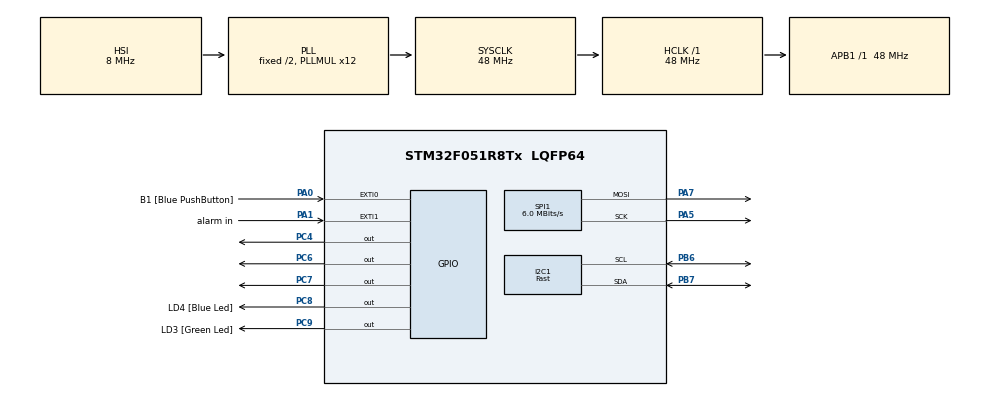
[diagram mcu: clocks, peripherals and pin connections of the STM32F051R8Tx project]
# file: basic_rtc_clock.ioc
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FREERTOS.Tasks01=defaultTask,0,128,StartDefaultTask,Default,NULL,Dynamic,NULL,NULL;write_SR,0,128,StartTask03,Default,NULL,Dynamic,NULL,NULL;readRTC,1,128,StartTask04,Default,NULL,Dynamic,NULL,NULL
I2C1.I2C_Speed_Mode=I2C_Fast
I2C1.Timing=0x0000020B
Mcu.Family=STM32F0
Mcu.Name=STM32F051R8Tx
Mcu.Package=LQFP64
NVIC.EXTI0_1_IRQn=true\:3\:0\:false\:false\:true\:true\:true
NVIC.TIM2_IRQn=true\:0\:0\:false\:false\:true\:false\:false
NVIC.TimeBase=TIM2_IRQn
NVIC.TimeBaseIP=TIM2
PA0.GPIO_Label=B1 [Blue PushButton]
PA0.GPIO_ModeDefaultEXTI=GPIO_MODE_EVT_RISING
PA0.Signal=GPXTI0
PA1.GPIO_Label=alarm in
PA1.GPIO_PuPd=GPIO_PULLUP
PA1.Signal=GPXTI1
PA13.GPIO_Label=SWDIO
PA13.Mode=Serial_Wire
PA13.Signal=SYS_SWDIO
PA14.GPIO_Label=SWCLK
PA14.Mode=Serial_Wire
PA14.Signal=SYS_SWCLK
PA5.Mode=TX_Only_Simplex_Unidirect_Master
PA5.Signal=SPI1_SCK
PA7.Mode=TX_Only_Simplex_Unidirect_Master
PA7.Signal=SPI1_MOSI
PB6.Mode=I2C
PB6.Signal=I2C1_SCL
PB7.Mode=I2C
PB7.Signal=I2C1_SDA
PC4.Signal=GPIO_Output
PC6.Signal=GPIO_Output
PC7.Signal=GPIO_Output
PC8.GPIO_Label=LD4 [Blue Led]
PC8.Signal=GPIO_Output
PC9.GPIO_Label=LD3 [Green Led]
PC9.Signal=GPIO_Output
ProjectManager.HeapSize=0x200
ProjectManager.StackSize=0x400
ProjectManager.TargetToolchain=SW4STM32
RCC.AHBFreq_Value=48000000
RCC.APB1Freq_Value=48000000
RCC.APB1TimFreq_Value=48000000
RCC.HCLKFreq_Value=48000000
RCC.PLLMUL=RCC_PLL_MUL12
RCC.SYSCLKFreq_VALUE=48000000
RCC.SYSCLKSource=RCC_SYSCLKSOURCE_PLLCLK
SPI1.BaudRatePrescaler=SPI_BAUDRATEPRESCALER_8
SPI1.CalculateBaudRate=6.0 MBits/s
SPI1.DataSize=SPI_DATASIZE_8BIT
SPI1.Direction=SPI_DIRECTION_2LINES
SPI1.Mode=SPI_MODE_MASTER
SPI1.VirtualType=VM_MASTER
VP_FREERTOS_VS_ENABLE.Mode=Enabled
VP_SYS_VS_tim2.Mode=TIM2
board=STM32F0DISCOVERY

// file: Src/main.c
/* USER CODE BEGIN Header */
/**
  ******************************************************************************
  * @file           : main.c
  * @brief          : Main program body
  ******************************************************************************
  ** This notice applies to any and all portions of this file
  * that are not between comment pairs USER CODE BEGIN and
  * USER CODE END. Other portions of this file, whether
  * inserted by the user or by software development tools
  * are owned by their respective copyright owners.
  *
  * COPYRIGHT(c) 2019 STMicroelectronics
  *
  * Redistribution and use in source and binary forms, with or without modification,
  * are permitted provided that the following conditions are met:
  *   1. Redistributions of source code must retain the above copyright notice,
  *      this list of conditions and the following disclaimer.
  *   2. Redistributions in binary form must reproduce the above copyright notice,
  *      this list of conditions and the following disclaimer in the documentation
  *      and/or other materials provided with the distribution.
  *   3. Neither the name of STMicroelectronics nor the names of its contributors
  *      may be used to endorse or promote products derived from this software
  *      without specific prior written permission.
  *
  * THIS SOFTWARE IS PROVIDED BY THE COPYRIGHT HOLDERS AND CONTRIBUTORS "AS IS"
  * AND ANY EXPRESS OR IMPLIED WARRANTIES, INCLUDING, BUT NOT LIMITED TO, THE
  * IMPLIED WARRANTIES OF MERCHANTABILITY AND FITNESS FOR A PARTICULAR PURPOSE ARE
  * DISCLAIMED. IN NO EVENT SHALL THE COPYRIGHT HOLDER OR CONTRIBUTORS BE LIABLE
  * FOR ANY DIRECT, INDIRECT, INCIDENTAL, SPECIAL, EXEMPLARY, OR CONSEQUENTIAL
  * DAMAGES (INCLUDING, BUT NOT LIMITED TO, PROCUREMENT OF SUBSTITUTE GOODS OR
  * SERVICES; LOSS OF USE, DATA, OR PROFITS; OR BUSINESS INTERRUPTION) HOWEVER
  * CAUSED AND ON ANY THEORY OF LIABILITY, WHETHER IN CONTRACT, STRICT LIABILITY,
  * OR TORT (INCLUDING NEGLIGENCE OR OTHERWISE) ARISING IN ANY WAY OUT OF THE USE
  * OF THIS SOFTWARE, EVEN IF ADVISED OF THE POSSIBILITY OF SUCH DAMAGE.
  *
  ******************************************************************************
  */
/* USER CODE END Header */

#include "main.h"
#include "cmsis_os.h"

/* USER CODE BEGIN PD */
#define SECONDS_REG 0x0
#define MINS_REG	0x1
#define HOURS_REG	0x2
#define RTC_ADDRESS 0xD0
/* USER CODE END PD */

I2C_HandleTypeDef hi2c1;

SPI_HandleTypeDef hspi1;

osThreadId defaultTaskHandle;
osThreadId write_SRHandle;
osThreadId readRTCHandle;
/* USER CODE BEGIN PV */

uint8_t active_display;  // active display counter
uint8_t TIME_READ=0;	 // see if clock has been read yet

typedef struct {
	// private //
	uint8_t address;
	uint8_t twentyfour_hour;
	// public //
	// individual digits of current time for display //
	uint8_t time_hour_large;
	uint8_t time_hour_small;
	uint8_t	time_min_large;
	uint8_t time_min_small;
	uint8_t time_sec_large;
	uint8_t time_sec_small;
} clockinfo;

clockinfo clock;

/* USER CODE END PV */

void SystemClock_Config(void);
static void MX_GPIO_Init(void);
static void MX_I2C1_Init(void);
static void MX_SPI1_Init(void);
void StartDefaultTask(void const * argument);
void StartTask03(void const * argument);
void StartTask04(void const * argument);

/* USER CODE BEGIN 0 */
uint8_t RTC_Config(clockinfo *clock, I2C_HandleTypeDef *Handle);
//uint8_t Read_Time(clockinfo *clock, I2C_HandleTypeDef *Handle);
//uint8_t Read_Hours(clockinfo *clock, I2C_HandleTypeDef *Handle);
//uint8_t Write_to_Reg(uint8_t device, uint8_t reg, uint8_t data, I2C_HandleTypeDef *Handle);
//uint8_t Read_from_Register(uint8_t device, uint8_t reg, uint8_t *buffer, uint8_t len, I2C_HandleTypeDef *Handle);

/* USER CODE END 0 */

int main(void)
{
  /* USER CODE BEGIN 1 */
	// set the clock address
  clock.address = (uint8_t) RTC_ADDRESS;
  /* USER CODE END 1 */

  /* MCU Configuration--------------------------------------------------------*/

  /* Reset of all peripherals, Initializes the Flash interface and the Systick. */
  HAL_Init();

  /* Configure the system clock */
  SystemClock_Config();

  /* Initialize all configured peripherals */
  MX_GPIO_Init();
  MX_I2C1_Init();
  MX_SPI1_Init();
  /* USER CODE BEGIN 2 */

  RTC_Config(&clock, &hi2c1);
  /* USER CODE END 2 */

  /* Create the thread(s) */
  /* definition and creation of defaultTask */
  osThreadDef(defaultTask, StartDefaultTask, osPriorityLow, 0, 128);
  defaultTaskHandle = osThreadCreate(osThread(defaultTask), NULL);

  /* definition and creation of write_SR */
  osThreadDef(display_next_digit, StartTask03, osPriorityAboveNormal, 0, 128);
  write_SRHandle = osThreadCreate(osThread(display_next_digit), NULL);

  /* definition and creation of readRTC */
  osThreadDef(readRTC, StartTask04, osPriorityNormal, 0, 128);
  readRTCHandle = osThreadCreate(osThread(readRTC), NULL);

  /* Start scheduler */
  osKernelStart();

  /* We should never get here as control is now taken by the scheduler */

  /* Infinite loop */
  while (1)
  {

  }
}

void SystemClock_Config(void)
{
  RCC_OscInitTypeDef RCC_OscInitStruct = {0};
  RCC_ClkInitTypeDef RCC_ClkInitStruct = {0};
  RCC_PeriphCLKInitTypeDef PeriphClkInit = {0};

  /**Initializes the CPU, AHB and APB busses clocks
  */
  RCC_OscInitStruct.OscillatorType = RCC_OSCILLATORTYPE_HSI;
  RCC_OscInitStruct.HSIState = RCC_HSI_ON;
  RCC_OscInitStruct.HSICalibrationValue = RCC_HSICALIBRATION_DEFAULT;
  RCC_OscInitStruct.PLL.PLLState = RCC_PLL_ON;
  RCC_OscInitStruct.PLL.PLLSource = RCC_PLLSOURCE_HSI;
  RCC_OscInitStruct.PLL.PLLMUL = RCC_PLL_MUL12;
  RCC_OscInitStruct.PLL.PREDIV = RCC_PREDIV_DIV1;
  if (HAL_RCC_OscConfig(&RCC_OscInitStruct) != HAL_OK)
  {
    Error_Handler();
  }
  /**Initializes the CPU, AHB and APB busses clocks
  */
  RCC_ClkInitStruct.ClockType = RCC_CLOCKTYPE_HCLK|RCC_CLOCKTYPE_SYSCLK
                              |RCC_CLOCKTYPE_PCLK1;
  RCC_ClkInitStruct.SYSCLKSource = RCC_SYSCLKSOURCE_PLLCLK;
  RCC_ClkInitStruct.AHBCLKDivider = RCC_SYSCLK_DIV1;
  RCC_ClkInitStruct.APB1CLKDivider = RCC_HCLK_DIV1;

  if (HAL_RCC_ClockConfig(&RCC_ClkInitStruct, FLASH_LATENCY_1) != HAL_OK)
  {
    Error_Handler();
  }
  PeriphClkInit.PeriphClockSelection = RCC_PERIPHCLK_I2C1;
  PeriphClkInit.I2c1ClockSelection = RCC_I2C1CLKSOURCE_HSI;
  if (HAL_RCCEx_PeriphCLKConfig(&PeriphClkInit) != HAL_OK)
  {
    Error_Handler();
  }
}

static void MX_I2C1_Init(void)
{

  hi2c1.Instance = I2C1;
  hi2c1.Init.Timing = 0x0000020B;
  hi2c1.Init.OwnAddress1 = 0;
  hi2c1.Init.AddressingMode = I2C_ADDRESSINGMODE_7BIT;
  hi2c1.Init.DualAddressMode = I2C_DUALADDRESS_DISABLE;
  hi2c1.Init.OwnAddress2 = 0;
  hi2c1.Init.OwnAddress2Masks = I2C_OA2_NOMASK;
  hi2c1.Init.GeneralCallMode = I2C_GENERALCALL_DISABLE;
  hi2c1.Init.NoStretchMode = I2C_NOSTRETCH_DISABLE;
  if (HAL_I2C_Init(&hi2c1) != HAL_OK)
  {
    Error_Handler();
  }
  /**Configure Analogue filter
  */
  if (HAL_I2CEx_ConfigAnalogFilter(&hi2c1, I2C_ANALOGFILTER_ENABLE) != HAL_OK)
  {
    Error_Handler();
  }
  /**Configure Digital filter
  */
  if (HAL_I2CEx_ConfigDigitalFilter(&hi2c1, 0) != HAL_OK)
  {
    Error_Handler();
  }

}

static void MX_SPI1_Init(void)
{

  /* SPI1 parameter configuration*/
  hspi1.Instance = SPI1;
  hspi1.Init.Mode = SPI_MODE_MASTER;
  hspi1.Init.Direction = SPI_DIRECTION_2LINES;
  hspi1.Init.DataSize = SPI_DATASIZE_8BIT;
  hspi1.Init.CLKPolarity = SPI_POLARITY_HIGH;
  hspi1.Init.CLKPhase = SPI_PHASE_1EDGE;
  hspi1.Init.NSS = SPI_NSS_SOFT;
  hspi1.Init.BaudRatePrescaler = SPI_BAUDRATEPRESCALER_64;
  hspi1.Init.FirstBit = SPI_FIRSTBIT_LSB;
  hspi1.Init.TIMode = SPI_TIMODE_DISABLE;
  hspi1.Init.CRCCalculation = SPI_CRCCALCULATION_DISABLE;
  hspi1.Init.CRCPolynomial = 7;
  hspi1.Init.CRCLength = SPI_CRC_LENGTH_DATASIZE;
  hspi1.Init.NSSPMode = SPI_NSS_PULSE_ENABLE;
  if (HAL_SPI_Init(&hspi1) != HAL_OK)
  {
    Error_Handler();
  }

}

static void MX_GPIO_Init(void)
{
  GPIO_InitTypeDef GPIO_InitStruct = {0};

  /* GPIO Ports Clock Enable */
  __HAL_RCC_GPIOA_CLK_ENABLE();
  __HAL_RCC_GPIOC_CLK_ENABLE();
  __HAL_RCC_GPIOB_CLK_ENABLE();

  /*Configure GPIO pin Output Level */
  HAL_GPIO_WritePin(GPIOC, GPIO_PIN_4|GPIO_PIN_6|GPIO_PIN_7|LD4_Pin
                          |LD3_Pin, GPIO_PIN_RESET);

  /*Configure GPIO pin : B1_Pin */
  GPIO_InitStruct.Pin = B1_Pin;
  GPIO_InitStruct.Mode = GPIO_MODE_EVT_RISING;
  GPIO_InitStruct.Pull = GPIO_NOPULL;
  HAL_GPIO_Init(B1_GPIO_Port, &GPIO_InitStruct);

  /*Configure GPIO pin : alarm_in_Pin */
  GPIO_InitStruct.Pin = alarm_in_Pin;
  GPIO_InitStruct.Mode = GPIO_MODE_IT_RISING;
  GPIO_InitStruct.Pull = GPIO_PULLUP;
  HAL_GPIO_Init(alarm_in_GPIO_Port, &GPIO_InitStruct);

  /*Configure GPIO pins : PC4 PC6 PC7 LD4_Pin
                           LD3_Pin */
  GPIO_InitStruct.Pin = GPIO_PIN_4|GPIO_PIN_6|GPIO_PIN_7|LD4_Pin
                          |LD3_Pin;
  GPIO_InitStruct.Mode = GPIO_MODE_OUTPUT_PP;
  GPIO_InitStruct.Pull = GPIO_NOPULL;
  GPIO_InitStruct.Speed = GPIO_SPEED_FREQ_LOW;
  HAL_GPIO_Init(GPIOC, &GPIO_InitStruct);

  /* EXTI interrupt init*/
  HAL_NVIC_SetPriority(EXTI0_1_IRQn, 3, 0);
  HAL_NVIC_EnableIRQ(EXTI0_1_IRQn);

}

/* USER CODE BEGIN 4 */

uint8_t RTC_Config(clockinfo *clock, I2C_HandleTypeDef *Handle){

	I2C_HandleTypeDef *hi2c = Handle;
	// set the 24 hour mode

	uint8_t time_buffer[3];
	uint8_t hours, mins, secs, temp;
	// first need to write bit 6 of the hours register to 0
	// so read from the register, then write it back in?
	//if(Read_from_Register((uint8_t) clock->address, (uint8_t)HOURS_REG, &temp, 1, hi2c)) { return HAL_ERROR; }
	HAL_I2C_Master_Transmit(hi2c, (uint16_t)clock->address, (uint8_t *)HOURS_REG, 1, 50);
	HAL_I2C_Master_Receive(hi2c, (uint16_t)clock->address, &temp, 1, 50);
	// NAND temp register to clear bit 6
	temp &= ~(1 << 6);   // temp & ~(0100 0000) = temp & (1011 1111)
	// write the value back in - this should set the 24 hour mode on
	// write_to_Reg((uint8_t) clock->address, (uint8_t)HOURS_REG, temp, hi2c);
	HAL_I2C_Mem_Write (hi2c,				//i2c handle
							 (uint16_t)clock->address,		// device address
							 (uint16_t)HOURS_REG,			// register address
							 1,								// size of address
							 &temp,							// data to write
							 1,								// len of data
							 50);
	/*
	uint8_t zero = 0b000000000000000000000000;
	HAL_I2C_Mem_Write(hi2c,
					(uint16_t)clock->address,
					(uint16_t)SECONDS_REG,
					1,
					3,
					100);*/
	// read current time from the RTC
	HAL_I2C_Master_Transmit(&hi2c1, (uint16_t)clock->address, (uint8_t)SECONDS_REG, 1, 50);
	HAL_I2C_Master_Receive(&hi2c1, (uint16_t)clock->address, (uint8_t *)time_buffer, 3, 50);

	 // sort the data into the clock struct
	hours=time_buffer[2];// & ~(0b11000000);
	clock->time_hour_small =(uint8_t) hours & ~(0b11110000);
	if(hours & (0b00010000)) { clock->time_hour_large = 1; }
	else if(hours & (0b00100000)) { clock->time_hour_large = 2; }
	else { clock->time_hour_large = 0; }
	mins=time_buffer[1];
	clock->time_min_large = mins >>4;
	clock->time_min_small = mins & ~(0b11110000);
	secs=time_buffer[0];
	clock->time_sec_large = secs >>4;
	clock->time_sec_small = secs & ~(0b11110000);
		 // declare time read = 1
	if(!TIME_READ) { TIME_READ=1; }
	return 0;

}

/*
uint8_t Read_Time(clockinfo *clock, I2C_HandleTypeDef *Handle){

	I2C_HandleTypeDef *hi2c = Handle;
	uint8_t time_buffer[3];

	if(Read_from_Register((uint8_t) clock->address, (uint8_t)SECONDS_REG, (uint8_t *)time_buffer, 3, hi2c) != HAL_OK){ return 1; }

	uint8_t hours=time_buffer[2];// & ~(0b11000000);
	clock->time_hour_small =(uint8_t) hours & ~(0b11110000);
	if(hours & (0b00010000)) { clock->time_hour_large = 1; }
	else if(hours & (0b00100000)) { clock->time_hour_large = 2; }
	else { clock->time_hour_large = 0; }
	uint8_t mins=time_buffer[1];
	clock->time_min_large = mins >>4;
	clock->time_min_small = mins & ~(0b11110000);
	uint8_t secs=time_buffer[0];
	clock->time_sec_large = secs >>4;
	clock->time_sec_small = secs & ~(0b11110000);

	return 0;
}
*/

uint8_t Digit_to_Display(uint8_t digit){

		// if rtc not yet read, would output garbage. Skip it.
	if(!TIME_READ){ return 0; }

	switch(digit){
		// assuming SR wired with outputs QA-G to digit LEDs, QH = dot
		case 1:		return 0b00100100;
		case 2:		return 0b10111010;
		case 3:		return 0b10101110;
		case 4: 	return 0b01100110;
		case 5:		return 0b11001110;
		case 6:		return 0b11011110;
		case 7:		return 0b10100100;
		case 8:		return 0b11111110;
		case 9:		return 0b11101110;
		case 0:		return 0b11111100;
		default:	return 0;
	}
}

/* USER CODE END 4 */

void StartDefaultTask(void const * argument)
{

  for(;;)
  {
    osDelay(1);
  }
}

void StartTask03(void const * argument)
{
  /* USER CODE BEGIN StartTask03 */
  /* Infinite loop */

  if(active_display > 3) { active_display=0; }

  uint8_t data, bin_data;

  for(;;)
  {
	// select appropriate transistor & fill appropriate data
	if(active_display > 3) { active_display=0; }
	switch(active_display){
		case 0:
			data = clock.time_hour_large;
			HAL_GPIO_WritePin(GPIOC, GPIO_PIN_9, GPIO_PIN_RESET);
			HAL_GPIO_WritePin(GPIOC, GPIO_PIN_6, GPIO_PIN_SET);
			break;
		case 1:
			data = clock.time_hour_small;
			HAL_GPIO_WritePin(GPIOC, GPIO_PIN_6, GPIO_PIN_RESET);
			HAL_GPIO_WritePin(GPIOC, GPIO_PIN_7, GPIO_PIN_SET);
			break;
		case 2:
			data = clock.time_min_large;
			HAL_GPIO_WritePin(GPIOC, GPIO_PIN_7, GPIO_PIN_RESET);
			HAL_GPIO_WritePin(GPIOC, GPIO_PIN_8, GPIO_PIN_SET);
			break;
		case 3:
			data = clock.time_min_small;
			HAL_GPIO_WritePin(GPIOC, GPIO_PIN_8, GPIO_PIN_RESET);
			HAL_GPIO_WritePin(GPIOC, GPIO_PIN_9, GPIO_PIN_SET);
			break;
		default:		// something done gone wrong... switch 'em all off
			data=0;
			HAL_GPIO_WritePin(GPIOC, GPIO_PIN_6, GPIO_PIN_RESET);
			HAL_GPIO_WritePin(GPIOC, GPIO_PIN_7, GPIO_PIN_RESET);
			HAL_GPIO_WritePin(GPIOC, GPIO_PIN_8, GPIO_PIN_RESET);
			HAL_GPIO_WritePin(GPIOC, GPIO_PIN_9, GPIO_PIN_RESET);
			break;
	}
	// get binary data to write to shift register
	bin_data=Digit_to_Display(data);
	// now write the shift register data out - set latch pin low
	HAL_GPIO_WritePin(GPIOC, GPIO_PIN_4, GPIO_PIN_RESET);
	HAL_SPI_Transmit(&hspi1, &bin_data, 1, 50);
	HAL_GPIO_WritePin(GPIOC, GPIO_PIN_4, GPIO_PIN_SET);

	// increment the active display
	active_display++;

    osDelay(2);
  }
  /* USER CODE END StartTask03 */
}

void StartTask04(void const * argument)
{
  /* USER CODE BEGIN StartTask04 */
  /* Infinite loop */

	uint8_t time_buffer[3];
	uint8_t hours, mins, secs;
	for(;;)
	{

	 // read current time from the RTC
	HAL_I2C_Master_Transmit(&hi2c1, (uint16_t)clock.address, (uint8_t)SECONDS_REG, 1, 50);
	HAL_I2C_Master_Receive(&hi2c1, (uint16_t)clock.address, (uint8_t *)time_buffer, 3, 50);

	 // sort the data into the clock struct
	hours=time_buffer[2];// & ~(0b11000000);
	clock.time_hour_small =(uint8_t) hours & ~(0b11110000);
	if(hours & (0b00010000)) { clock.time_hour_large = 1; }
	else if(hours & (0b00100000)) { clock.time_hour_large = 2; }
	else { clock.time_hour_large = 0; }
	mins=time_buffer[1];
	clock.time_min_large = mins >>4;
	clock.time_min_small = mins & ~(0b11110000);
	secs=time_buffer[0];
	clock.time_sec_large = secs >>4;
	clock.time_sec_small = secs & ~(0b11110000);
	// declare time read = 1
	if(!TIME_READ) { TIME_READ=1; }
	 // chill
	osDelay(500);
  }
  /* USER CODE END StartTask04 */
}

void HAL_TIM_PeriodElapsedCallback(TIM_HandleTypeDef *htim)
{
  if (htim->Instance == TIM2) {
    HAL_IncTick();
  }
}

void Error_Handler(void)
{
}

/************************ (C) COPYRIGHT STMicroelectronics *****END OF FILE****/
